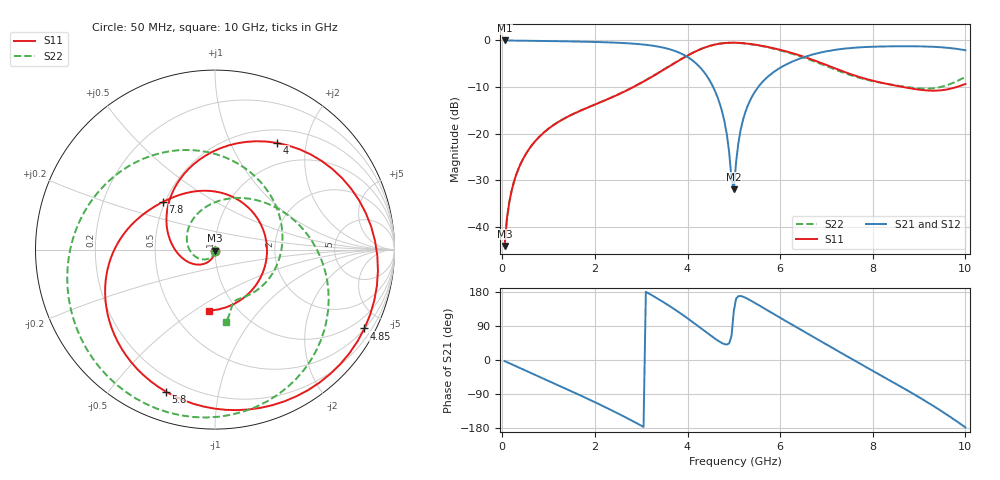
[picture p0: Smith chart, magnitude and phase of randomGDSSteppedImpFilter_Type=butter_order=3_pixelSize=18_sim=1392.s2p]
! freq	dB(S11)	phase(S11)	dB(S12)	phase(S12)
!  dB(S21)	phase(S21)	dB(S22)	phase(S22)
!S-par simulation data
#  GHz  S  DB  R 50
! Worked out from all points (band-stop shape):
!   200 points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, 50 MHz to 10 GHz, reference 50 ohm
!   highest |S21| = -0.01 dB at 50 MHz (marker M1); lowest = -31.9 dB at 5 GHz (marker M2)
!   |S21| within 3 dB of the highest: start of sweep to 3.904 GHz; 6.707 GHz to end of sweep
!   lowest |S11| = -44.1 dB at 50 MHz (marker M3), VSWR 1.01, Z = 50 - j0.627 ohm
!   |S11| at or under -10 dB: start of sweep to 2.828 GHz; 8.662 GHz to 9.804 GHz (1.142 GHz wide, 12.4 % of centre)
!   |S22| runs from -44.1 to -0.5 dB; largest |S21 - S12| = 0
!   S11 on the Smith chart (normalised r, x): 50 MHz: 1.00, -0.01; 4 GHz: 0.67, +1.52; 4.85 GHz: 0.51, -3.97; 5.8 GHz: 0.13, -0.70; 7.8 GHz: 0.49, +0.31; 10 GHz: 0.75, -0.58
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0.05  -44.05 -89.8  -0.01 -2.8  -0.01 -2.8  -44.07 -91.0
0.2  -32.25 -98.2  -0.02 -11.1  -0.02 -11.1  -32.27 -103.0
0.5  -24.47 -111.9  -0.05 -27.5  -0.05 -27.5  -24.49 -124.0
1.15  -17.84 -139.3  -0.15 -63.3  -0.15 -63.3  -17.84 -169.3
1.75  -14.78 -163.1  -0.26 -97.0  -0.26 -97.0  -14.76 146.9
2.7  -10.65 155.7  -0.60 -153.7  -0.60 -153.7  -10.60 74.5
3.4  -6.79 111.7  -1.38 158.6  -1.38 158.6  -6.74 22.7
4  -3.25 59.8  -3.55 110.0  -3.55 110.0  -3.21 -23.6
4.5  -1.11 8.3  -8.96 64.4  -8.96 64.4  -1.10 -66.7
4.85  -0.52 -27.8  -20.22 40.9  -20.22 40.9  -0.53 -97.4
5  -0.48 -42.5  -31.92 130.5  -31.92 130.5  -0.51 -110.1
5.05  -0.49 -47.2  -25.93 162.3  -25.93 162.3  -0.52 -114.2
5.3  -0.69 -69.7  -13.98 161.3  -13.98 161.3  -0.73 -134.4
5.8  -1.54 -109.1  -7.23 125.7  -7.23 125.7  -1.64 -172.8
6.25  -2.68 -139.8  -4.59 93.7  -4.59 93.7  -2.83 152.5
6.7  -4.14 -167.0  -3.02 62.1  -3.02 62.1  -4.36 115.5
7.3  -6.42 161.8  -1.86 19.9  -1.86 19.9  -6.67 60.8
7.8  -8.09 137.7  -1.43 -14.8  -1.43 -14.8  -8.26 14.0
8.35  -9.40 105.4  -1.27 -52.6  -1.27 -52.6  -9.38 -30.0
9.15  -10.70 29.2  -1.30 -109.4  -1.30 -109.4  -10.32 -66.2
9.6  -10.50 -32.8  -1.56 -144.2  -1.56 -144.2  -9.59 -73.6
10  -9.33 -95.2  -2.11 -177.9  -2.11 -177.9  -7.84 -81.1
